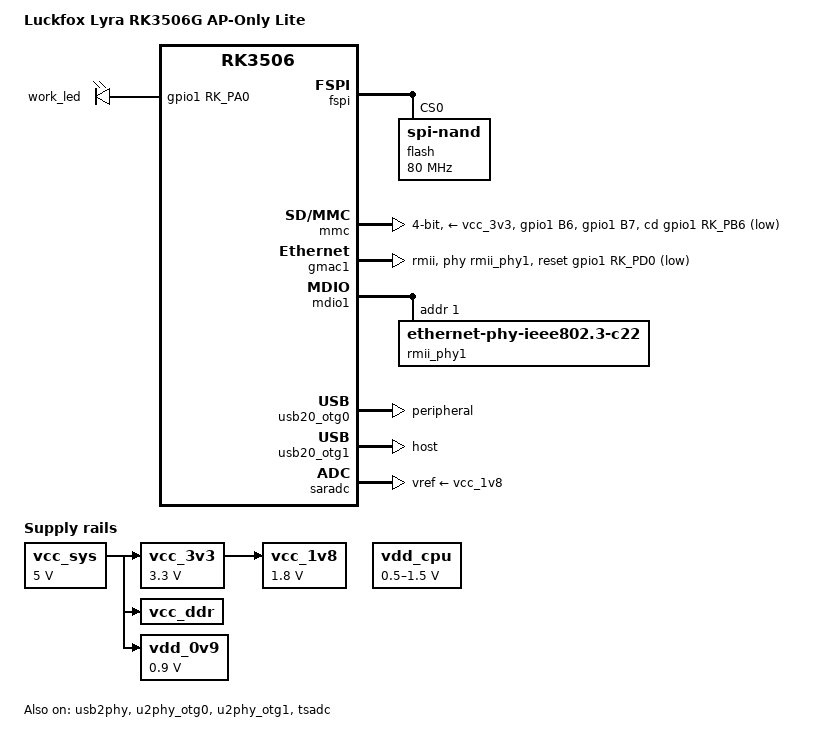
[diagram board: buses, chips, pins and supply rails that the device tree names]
// SPDX-License-Identifier: (GPL-2.0+ OR MIT)
/*
 * Luckfox Lyra RK3506G - AP Only Lite (Headless)
 *
 * Single real-time core configuration without display/audio:
 *   - CPU0 + CPU1: Linux (2 cores)
 *   - CPU2: RT-Thread RTOS
 *   - MCU: Not used
 *
 * Compared to stock AP config:
 *   - No display subsystem (~32 MB saved)
 *   - No audio subsystem
 *   - Faster boot, more RAM
 *
 * RPMSG device:
 *   /dev/ttyRPMSG0 - CPU2 (RT-Thread)
 */

/dts-v1/;

#include "rk3506.dtsi"
#include "rk3506-amp.dtsi"

/ {
	model = "Luckfox Lyra RK3506G AP-Only Lite";
	compatible = "rockchip,rk3506g-luckfox-lyra-ap-only-lite", "rockchip,rk3506";

	chosen {
		bootargs = "earlycon=uart8250,mmio32,0xff0a0000 console=ttyFIQ0 root=ubi0:rootfs ubi.mtd=3 rootfstype=ubifs rootwait";
	};

	/*
	 * Power regulators
	 */
	vcc_sys: vcc-sys {
		compatible = "regulator-fixed";
		regulator-name = "vcc_sys";
		regulator-always-on;
		regulator-boot-on;
		regulator-min-microvolt = <5000000>;
		regulator-max-microvolt = <5000000>;
	};

	vcc_3v3: vcc-3v3 {
		compatible = "regulator-fixed";
		regulator-name = "vcc_3v3";
		regulator-always-on;
		regulator-boot-on;
		regulator-min-microvolt = <3300000>;
		regulator-max-microvolt = <3300000>;
		vin-supply = <&vcc_sys>;
	};

	vcc_1v8: vcc-1v8 {
		compatible = "regulator-fixed";
		regulator-name = "vcc_1v8";
		regulator-always-on;
		regulator-boot-on;
		regulator-min-microvolt = <1800000>;
		regulator-max-microvolt = <1800000>;
		vin-supply = <&vcc_3v3>;
	};

	vcc_ddr: vcc-ddr {
		compatible = "regulator-fixed";
		regulator-name = "vcc_ddr";
		regulator-always-on;
		regulator-boot-on;
		vin-supply = <&vcc_sys>;
	};

	vdd_0v9: vdd-0v9 {
		compatible = "regulator-fixed";
		regulator-name = "vdd_0v9";
		regulator-always-on;
		regulator-boot-on;
		regulator-min-microvolt = <900000>;
		regulator-max-microvolt = <900000>;
		vin-supply = <&vcc_sys>;
	};

	vdd_cpu: vdd-cpu {
		compatible = "regulator-fixed";
		regulator-name = "vdd_cpu";
		regulator-boot-on;
		regulator-always-on;
		regulator-min-microvolt = <500000>;
		regulator-max-microvolt = <1500000>;
		vin-supply = <&vdd_cpu>;
	};

	/* Kernel debug console */
	fiq_debugger: fiq-debugger {
		compatible = "rockchip,fiq-debugger";
		rockchip,serial-id = <0>;
		rockchip,wake-irq = <0>;
		rockchip,irq-mode-enable = <1>;
		rockchip,baudrate = <1500000>;
		interrupts = <GIC_SPI 115 IRQ_TYPE_LEVEL_HIGH>;
	};

	/* Status LED */
	leds: leds {
		compatible = "gpio-leds";
		work_led: work-led {
			gpios = <&gpio1 RK_PA0 GPIO_ACTIVE_HIGH>;
			linux,default-trigger = "heartbeat";
		};
	};
};

/*============================================================
 * CPU
 *============================================================*/

&cpu0 {
	cpu-supply = <&vdd_cpu>;
	status = "okay";
};

/* CPU1 enabled by default, CPU2 removed by rk3506-amp.dtsi */

/*============================================================
 * Display - DISABLED
 *============================================================*/

&cma {
	size = <0x0>;
};

&display_subsystem {
	status = "disabled";
};

&vop {
	status = "disabled";
};

&dsi {
	status = "disabled";
};

&dsi_dphy {
	status = "disabled";
};

&rga2 {
	status = "disabled";
};

/*============================================================
 * Audio - DISABLED
 *============================================================*/

&sai0 {
	status = "disabled";
};

&sai1 {
	status = "disabled";
};

&sai2 {
	status = "disabled";
};

&sai3 {
	status = "disabled";
};

&acdcdig_dsm {
	status = "disabled";
};

/*============================================================
 * Storage
 *============================================================*/

&fspi {
	status = "okay";

	flash@0 {
		compatible = "spi-nand";
		reg = <0>;
		spi-max-frequency = <80000000>;
		spi-rx-bus-width = <4>;
		spi-tx-bus-width = <1>;
	};
};

&mmc {
	max-frequency = <52000000>;
	bus-width = <4>;
	no-sdio;
	no-mmc;
	cap-mmc-highspeed;
	cap-sd-highspeed;
	cd-gpios = <&gpio1 RK_PB6 GPIO_ACTIVE_LOW>;
	disable-wp;
	pinctrl-names = "default";
	pinctrl-0 = <&sdmmc_clk_pins &sdmmc_cmd_pins &sdmmc_bus4_pins &sdmmc_det &sdmmc_pwren>;
	vqmmc-supply = <&vcc_3v3>;
	vmmc-supply = <&vcc_3v3>;
	status = "okay";
};

/*============================================================
 * Networking
 *============================================================*/

&gmac1 {
	phy-mode = "rmii";
	clock_in_out = "output";

	snps,reset-gpio = <&gpio1 RK_PD0 GPIO_ACTIVE_LOW>;
	snps,reset-active-low;
	snps,reset-delays-us = <0 20000 100000>;

	pinctrl-names = "default";
	pinctrl-0 = <&eth_rmii1_miim_pins &eth_rmii1_tx_bus2_pins &eth_rmii1_rx_bus2_pins &eth_rmii1_clk_pins>;

	phy-handle = <&rmii_phy1>;
	status = "okay";
};

&mdio1 {
	rmii_phy1: phy@1 {
		compatible = "ethernet-phy-ieee802.3-c22";
		reg = <0x1>;
	};
};

/*============================================================
 * USB
 *============================================================*/

&usb20_otg0 {
	dr_mode = "peripheral";
	status = "okay";
};

&usb20_otg1 {
	dr_mode = "host";
	status = "okay";
};

&usb2phy {
	status = "okay";
};

&u2phy_otg0 {
	status = "okay";
};

&u2phy_otg1 {
	status = "okay";
};

/*============================================================
 * ADC
 *============================================================*/

&saradc {
	vref-supply = <&vcc_1v8>;
	status = "okay";
};

&tsadc {
	status = "okay";
};

/*============================================================
 * AMP reserved memory (RT-Thread code area)
 *============================================================*/

&reserved_memory {
	amp_reserved: amp@3e00000 {
		reg = <0x03e00000 0x100000>;
		no-map;
	};
};

/*============================================================
 * Pin Control
 *============================================================*/

&pinctrl {
	sdmmc {
		sdmmc_pwren: sdmmc-pwren {
			rockchip,pins = <1 RK_PB7 RK_FUNC_GPIO &pcfg_pull_down>;
		};

		sdmmc_det: sdmmc-det {
			rockchip,pins = <1 RK_PB6 RK_FUNC_GPIO &pcfg_pull_up>;
		};
	};
};
